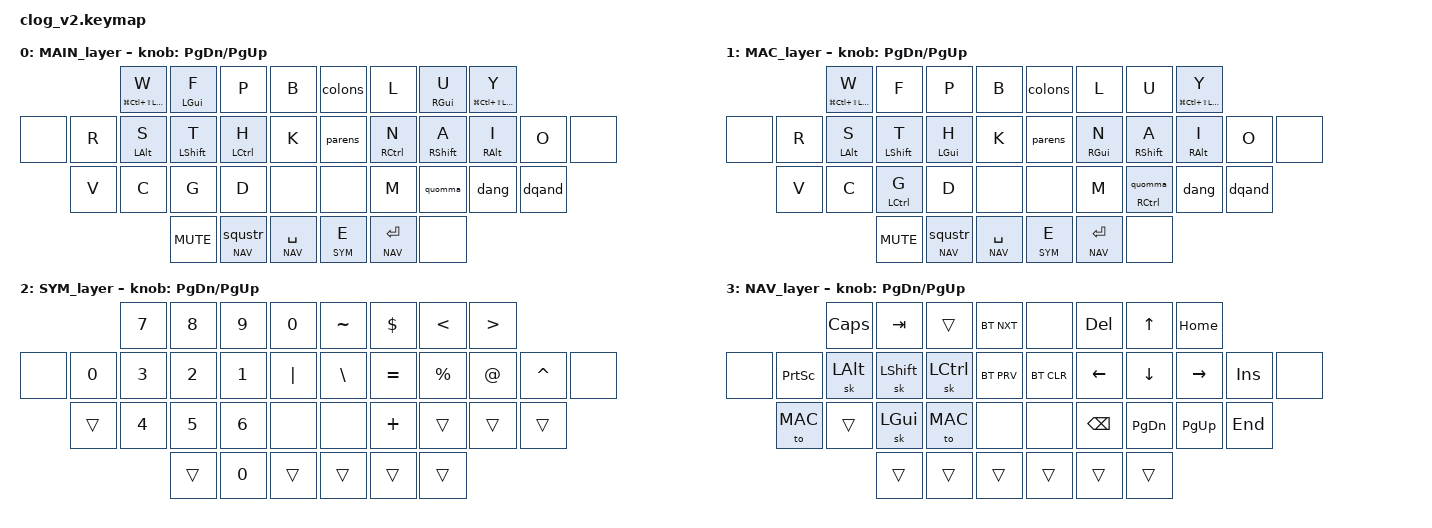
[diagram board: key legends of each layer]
#include <behaviors.dtsi>
#include <dt-bindings/zmk/keys.h>
#include <dt-bindings/zmk/bt.h>

#include "../zmk-nodefree-config/helper.h"

#define MAIN 0
#define MAC 1
#define SYM 2
#define NAV 3

#define TAPPING_TERM 210
#define SHIFT_TAP    170
#define QUICK_TAP    105

#define SK(KEY) &nk KEY KEY
#define HYP(KEY) LG(LA(LS(LC(key))))
#define MEH(KEY) LA(LS(LC(key)))
#define HYPR LG(LC(LS(LALT)))


&sk {
  release-after-ms = <60000>;
};

&mt {
    flavor = "tap-preferred";
    retro-tap;
    quick-tap-ms = <125>;
    tapping_term_ms = <175>;
};

&lt {
    flavor = "tap-preferred";
    retro-tap;
    quick-tap-ms = <125>;
    tapping_term_ms = <175>;
};

/ {

    macros {
    	oxford_comma: oxford_comma {
	    label = "ZM_oxford_comma";
	    compatible = "zmk,behavior-macro";
	    #binding-cells = <0>;
	    wait-ms = <5>;
	    tap-ms = <5>;
	    bindings
	        = <&macro_press &kp LSHFT>
		, <&macro_tap &kp O>
		, <&macro_release &kp LSHFT>
		, <&macro_tap &kp X &kp F &kp O &kp R &kp D &kp SPC &kp C &kp O &kp M &kp M &kp A &kp DOT>
		;
	    };
	    
	md_code: md_code {
	    label = "ZM_md_code";
	    compatible = "zmk,behavior-macro";
	    #binding-cells = <0>;
	    wait-ms = <3>;
	    tap-ms = <3>;
	    bindings
	        = <&macro_tap &kp GRAVE &kp GRAVE &kp GRAVE>
		;
	    };
	  
	bigarr_rgt: bigarr_rgt {
	    label = "ZM_bigarr_rgt";
	    compatible = "zmk,behavior-macro";
	    #binding-cells = <0>;
	    wait-ms = <3>;
	    tap-ms = <3>;
	    bindings
	        = <&macro_tap &kp EQUAL &kp GT>
		;
	    };
	    
	 bigarr_lft: bigarr_lft {
	    label = "ZM_bigarr_lft";
	    compatible = "zmk,behavior-macro";
	    #binding-cells = <0>;
	    wait-ms = <3>;
	    tap-ms = <3>;
	    bindings
	        = <&macro_tap &kp LT &kp EQUAL>
		;
	    };
	 
	 wikilink: wikilink {
	    label = "ZM_wikilink";
	    compatible = "zmk,behavior-macro";
	    #binding-cells = <0>;
	    wait-ms = <3>;
	    tap-ms = <3>;
	    bindings
	        = <&macro_tap &kp LBKT &kp LBKT>
		;
	    };
	 
	 gt_equal: gt_equal {
	    label = "ZM_gt_equal";
	    compatible = "zmk,behavior-macro";
	    #binding-cells = <0>;
	    wait-ms = <3>;
	    tap-ms = <3>;
	    bindings
	        = <&macro_tap &kp GT &kp EQUAL>
		;
	    };
	 
	 notequal: notequal {
	    label = "ZM_notequal";
	    compatible = "zmk,behavior-macro";
	    #binding-cells = <0>;
	    wait-ms = <3>;
	    tap-ms = <3>;
	    bindings
	        = <&macro_tap &kp EXCL &kp EQUAL>
		;
	    };
	 
	 and_and: and_and {
	    label = "ZM_and_and";
	    compatible = "zmk,behavior-macro";
	    #binding-cells = <0>;
	    wait-ms = <3>;
	    tap-ms = <3>;
	    bindings
	        = <&macro_tap &kp AMPS &kp AMPS>
		;
	    };
	 
	 emdash: emdash {
	    label = "ZM_emdash";
	    compatible = "zmk,behavior-macro";
	    #binding-cells = <0>;
	    wait-ms = <3>;
	    tap-ms = <3>;
	    bindings
	        = <&macro_tap &kp MINUS &kp MINUS>
		;
	    };
	};

    behaviors {
	lmt: left_mod_tap {
	    label           = "left_mod_tap";
	    compatible      = "zmk,behavior-hold-tap";
	    flavor          = "tap-preferred";
	    tapping-term-ms = <TAPPING_TERM>;
	    quick-tap-ms    = <QUICK_TAP>;
	    #binding-cells  = <2>;
	    bindings        = <&kp>, <&kp>;
	    hold-trigger-key-positions = <
	     	4  5  6  7
		14 15 16 17 18 19
		25 26 27 28 29
	    >;
	};

	rmt: right_mod_tap {
	    label           = "right_mod_tap";
	    compatible      = "zmk,behavior-hold-tap";
	    flavor          = "tap-preferred";
	    tapping-term-ms = <TAPPING_TERM>;
	    quick-tap-ms    = <QUICK_TAP>;
	    #binding-cells  = <2>;
	    bindings        = <&kp>, <&kp>;
	    hold-trigger-key-positions = <
		0  1  2  3
	  8  9  10 11 12 13
	     20 21 22 23 24
	    >;
	};

	lst: left_shift_tap {
	    label           = "left_shift_tap";
	    compatible      = "zmk,behavior-hold-tap";
	    flavor          = "balanced";
	    tapping-term-ms = <SHIFT_TAP>;
	    quick-tap-ms    = <QUICK_TAP>;
	    #binding-cells  = <2>;
	    bindings        = <&kp>, <&kp>;
	    hold-trigger-key-positions = <
	     	4  5  6  7
		14 15 16 17 18 19
		25 26 27 28 29
	    >;
	};
	rst: right_shift_tap {
	    label           = "right_shift_tap";
	    compatible      = "zmk,behavior-hold-tap";
	    flavor          = "balanced";
	    tapping-term-ms = <SHIFT_TAP>;
	    quick-tap-ms    = <QUICK_TAP>;
	    #binding-cells  = <2>;
	    bindings        = <&kp>, <&kp>;
	    hold-trigger-key-positions = <
		0  1  2  3
	  8  9  10 11 12 13
	     20 21 22 23 24
	    >;
	};

	// Sticky key on tap, normal key on hold
    	// Useful for modifier-clicking without the modifier remaining active
    	nk: not_so_sticky_key {
            compatible = "zmk,behavior-hold-tap";
            label = "NOT_SO_STICKY_KEY";
            #binding-cells = <2>;
            tapping_term_ms = <250>;
            flavor = "tap-preferred";
            bindings = <&kp>, <&sk>;
    };

        skq: sticky_key_quick_release {
            compatible = "zmk,behavior-sticky-key";
            label = "STICKY_KEY_QUICK_RELEASE";
            #binding-cells = <1>;
            bindings = <&kp>;
            release-after-ms = <1000>;
            quick-release;
        };
	
	gqt: global-quick-tap {
	    compatible = "zmk,behavior-hold-tap";
	    label = "GLOBAL_QUICK_TAP";
	    #binding-cells = <2>;
	    flavor = "tap-preferred";
	    tapping-term-ms = <200>;
	    quick-tap-ms = <125>;
	    global-quick-tap;
	    bindings = <&kp>, <&kp>;
	};	
	
	dang: dot_bang {
            compatible = "zmk,behavior-mod-morph";
            label = "DOT_BANG";
            #binding-cells = <0>;
            bindings = <&kp DOT>, <&kp EXCL>;
            mods = <(MOD_LSFT|MOD_RSFT)>;
        };
	
	squstr: sqt_star {
            compatible = "zmk,behavior-mod-morph";
            label = "SQT_STAR";
            #binding-cells = <0>;
            bindings = <&kp SQT>, <&kp STAR>;
            mods = <(MOD_LSFT|MOD_RSFT)>;
        };
	
	colons: colon_semi {
            compatible = "zmk,behavior-mod-morph";
            label = "COLON_SEMI";
            #binding-cells = <0>;
            bindings = <&kp COLON>, <&kp SEMI>;
            mods = <(MOD_LSFT|MOD_RSFT)>;
        };
	
	parens: LPAR_RPAR {
            compatible = "zmk,behavior-mod-morph";
            label = "LPAR_RPAR";
            #binding-cells = <0>;
            bindings = <&kp LPAR>, <&kp RPAR>;
            mods = <(MOD_LSFT|MOD_RSFT)>;
        };

	quomma: comma_question {
            compatible = "zmk,behavior-mod-morph";
            label = "COMMA_QUESTION";
            #binding-cells = <0>;
            bindings = <&kp COMMA>, <&kp QMARK>;
            mods = <(MOD_LSFT|MOD_RSFT)>;
        };
	
	sqtlt: sqt_layer_tap {
	    compatible = "zmk,behavior-hold-tap";
	    label = "SQT_LAYER_TAP";
	    #binding-cells = <2>;
	    flavor = "tap-preferred";
	    tapping-term-ms = <200>;
	    quick-tap-ms = <125>;
	    global-quick-tap;
	    bindings = <&mo>, <&squstr>;
	};
	
	dqand: dqt_and {
            compatible = "zmk,behavior-mod-morph";
            label = "DQT_AND";
            #binding-cells = <0>;
            bindings = <&kp DQT>, <&kp AMPS>;
            mods = <(MOD_LSFT|MOD_RSFT)>;
        };
	
	quommagqt: quomma-global-quick-tap {
	    compatible = "zmk,behavior-hold-tap";
	    label = "QUOMMA_GLOBAL_QUICK_TAP";
	    #binding-cells = <2>;
	    flavor = "tap-preferred";
	    tapping-term-ms = <200>;
	    quick-tap-ms = <125>;
	    global-quick-tap;
	    bindings = <&kp>, <&quomma>;
	};
	
    };

/*                KEY POSITIONS

      ╭─────────────────╮ ╭─────────────────╮
╭─────╯  0   1   2   3  │ │  4   5   6   7  ╰──────╮
│ 8  9   10  11  12  13 │ │ 14  15  16  17  18  19 |
╰──╮ 20  21  22  23  24 │ │ 25  26  27  28  29 ╭───╯
   ╰───────────╮ 30  31 │ │ 32  33 ╭───────────╯
               ╰────────╯ ╰────────╯            */

    combos {
        compatible = "zmk,combos";
	
	combo_esc {
	    timeout-ms = <20>;
            key-positions = <1 12>;
            bindings = <&kp ESCAPE>;
	};
	
	combo_capsword {
	    timeout-ms = <20>;
            key-positions = <15 6>;
            bindings = <&caps_word>;
	};
	
	combo_slsh {
	    timeout-ms = <20>;
            key-positions = <15 17>;
            bindings = <&kp SLASH>;
	};
	
	combo_lbrc {
	    timeout-ms = <20>;
            key-positions = <2 12>;
            bindings = <&kp LBRC>;
	};
	
	combo_rbrc {
	    timeout-ms = <20>;
            key-positions = <5 15>;
            bindings = <&kp RBRC>;
	};
	
	combo_lbkt {
	    timeout-ms = <20>;
            key-positions = <0 10>;
            bindings = <&kp LBKT>;
	};
	
	combo_rbkt {
	    timeout-ms = <20>;
            key-positions = <7 17>;
            bindings = <&kp RBKT>;
	};
	
	combo_tab {
	    timeout-ms = <20>;
            key-positions = <11 12>;
            bindings = <&kp TAB>;
	};
	
	combo_bspc {
	    timeout-ms = <20>;
            key-positions = <15 16>;
            bindings = <&kp BSPC>;
	};

	combo_grave {
            timeout-ms = <20>;
            key-positions = <26 27>;
            bindings = <&kp GRAVE>;
        };
	
	combo_under {
            timeout-ms = <20>;
            key-positions = <6 7>;
            bindings = <&kp UNDER>;
        };
	
	combo_minus {
            timeout-ms = <20>;
            key-positions = <27 28>;
            bindings = <&kp MINUS>;
        };
	
	combo_hash {
            timeout-ms = <20>;
            key-positions = <5 6>;
            bindings = <&kp HASH>;
        };
	
        combo_j {
            timeout-ms = <20>;
            key-positions = <0 1>;
            bindings = <&kp J>;
        };
	
	combo_q {
            timeout-ms = <20>;
            key-positions = <1 2>;
            bindings = <&kp Q>;
        };
	
	combo_x {
            timeout-ms = <20>;
            key-positions = <21 22>;
            bindings = <&kp X>;
        };

	combo_z {
            timeout-ms = <35>;
            key-positions = <22 23>;
            bindings = <&kp Z>;
	};
	
	combo_lsft {
	    timeout-ms = <20>;
            key-positions = <10 11>;
            bindings = <&skq LSHFT>;
	};
	
	combo_rsft {
	    timeout-ms = <20>;
            key-positions = <16 17>;
            bindings = <&skq RSHFT>;
	};
    };

    keymap {
        compatible = "zmk,keymap";

        MAIN_layer {
            bindings = <
                         &gqt HYPR W  &gqt LGUI F   &kp P         &kp B            &colons   &kp L          &gqt RGUI U    &gqt HYPR Y
            &none  &kp R &lmt LALT S  &lst LSHFT T  &lmt LCTL H   &kp K            &parens   &rmt RCTL N    &rst RSHFT A   &rmt RALT I  &kp O   &none
                   &kp V &kp C        &kp G         &kp D         &none            &none     &kp M          &quomma        &dang        &dqand
                                      &kp C_MUTE    &sqtlt NAV 0  &lt NAV SPC      &lt SYM E &lt NAV ENTER  &none
            >;

			sensor-bindings = <&inc_dec_kp PG_DN PG_UP>;
        };
	
	MAC_layer {
            bindings = <
                         &gqt HYPR W  &kp F         &kp P         &kp B            &colons   &kp L          &kp U              &gqt HYPR Y
            &none  &kp R &gqt LALT S  &gqt LSHFT T  &gqt LGUI H   &kp K            &parens   &gqt RGUI N    &gqt RSHFT A       &gqt RALT I  &kp O   &none
                   &kp V &kp C        &gqt LCTL G   &kp D         &none            &none     &kp M          &quommagqt RCTL 0  &dang        &dqand
                                      &kp C_MUTE    &sqtlt NAV 0  &lt NAV SPC      &lt SYM E &lt NAV ENTER  &none
            >;

			sensor-bindings = <&inc_dec_kp PG_DN PG_UP>;
        };

        SYM_layer {
            bindings = <
                         &kp N7 &kp N8 &kp N9 &kp N0    &kp TILDE &kp DOLLAR &kp LT &kp GT
            &none &kp N0 &kp N3 &kp N2 &kp N1 &kp PIPE  &kp BSLH  &kp EQUAL  &kp PRCNT &kp AT &kp CARET &none
                  &trans &kp N4 &kp N5 &kp N6 &none     &none     &kp PLUS   &trans    &trans &trans
                                &trans &kp N0 &trans    &trans    &trans     &trans
            >;

			sensor-bindings = <&inc_dec_kp PG_DN PG_UP>;
        };
        NAV_layer {
            bindings = <
                            &kp CAPS &kp TAB   &trans    &bt BT_NXT      &none       &kp DEL  &kp UP    &kp HOME
            &none &kp PSCRN &sk LALT &sk LSHFT &sk LCTRL &bt BT_PRV      &bt BT_CLR  &kp LEFT &kp DOWN  &kp RIGHT &kp INS &none
                  &to MAC   &trans   &sk LGUI  &to MAC   &none           &none       &kp BSPC &kp PG_DN &kp PG_UP &kp END
                                     &trans    &trans    &trans          &trans      &trans   &trans
            >;

			sensor-bindings = <&inc_dec_kp PG_DN PG_UP>;
	};
	/*
	MAIN_layer {
            bindings = <
                         &trans &trans &trans &trans  &trans &trans &trans &trans
            &none &trans &trans &trans &trans &trans  &trans &trans &trans &trans &trans &none
                  &trans &trans &trans &trans &none   &none  &trans &trans &trans &trans
                                &trans &trans &trans  &trans &trans &trans
            >;

			sensor-bindings = <&inc_dec_kp PG_DN PG_UP>;
        }; */
    };
};
